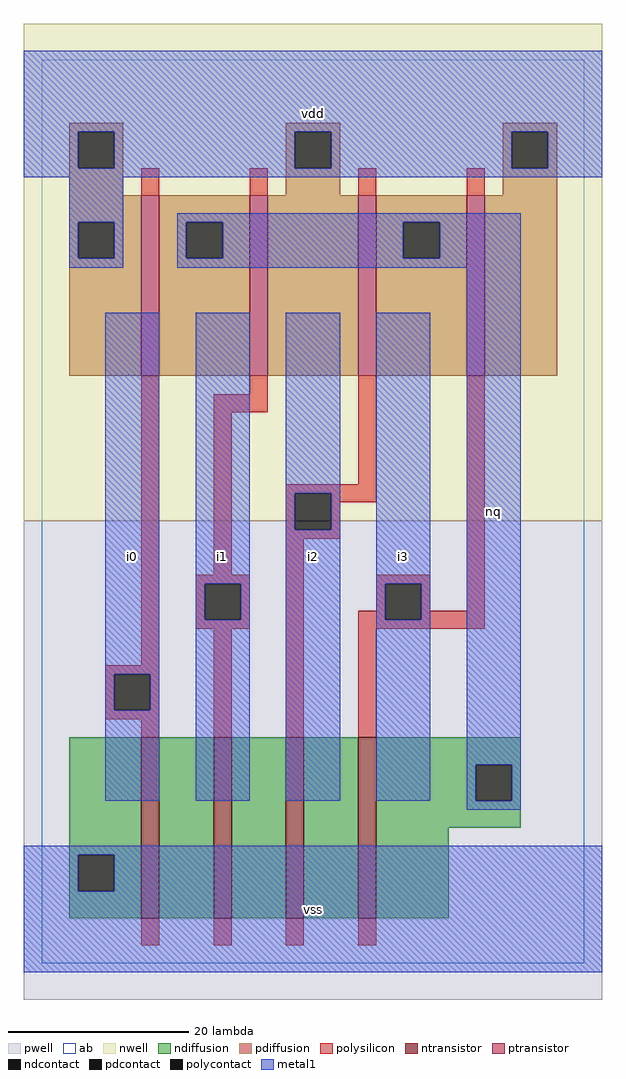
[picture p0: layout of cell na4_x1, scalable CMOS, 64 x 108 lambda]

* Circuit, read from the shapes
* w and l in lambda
.subckt na4_x1 i0 i1 i2 i3 nq vdd vss
M1 n1 i0 vss VSUBS nfet w=20 l=2
M2 n2 i1 n1 VSUBS nfet w=20 l=2
M3 n3 i2 n2 VSUBS nfet w=20 l=2
M4 nq i3 n3 VSUBS nfet w=20 l=2
M5 nq i0 vdd n4 pfet w=20 l=2
M6 vdd i1 nq n4 pfet w=20 l=2
M7 nq i2 vdd n4 pfet w=20 l=2
M8 vdd i3 nq n4 pfet w=20 l=2
.ends

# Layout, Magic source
magic
tech scmos
<< ab >>
rect 0 0 60 100
<< pwell >>
rect -2 -4 62 49
<< nwell >>
rect -2 49 62 104
<< polysilicon >>
rect 11 85 13 88
rect 23 85 25 88
rect 35 85 37 88
rect 47 85 49 88
rect 11 33 13 65
rect 23 63 25 65
rect 19 61 25 63
rect 19 43 21 61
rect 35 53 37 65
rect 27 52 37 53
rect 27 48 28 52
rect 32 51 37 52
rect 32 48 33 51
rect 27 47 33 48
rect 17 42 23 43
rect 17 38 18 42
rect 22 38 23 42
rect 17 37 23 38
rect 7 32 13 33
rect 7 28 8 32
rect 12 28 13 32
rect 7 27 13 28
rect 11 25 13 27
rect 19 25 21 37
rect 27 25 29 47
rect 37 42 43 43
rect 37 39 38 42
rect 35 38 38 39
rect 42 39 43 42
rect 47 39 49 65
rect 42 38 49 39
rect 35 37 49 38
rect 35 25 37 37
rect 11 2 13 5
rect 19 2 21 5
rect 27 2 29 5
rect 35 2 37 5
<< ndiffusion >>
rect 3 12 11 25
rect 3 8 4 12
rect 8 8 11 12
rect 3 5 11 8
rect 13 5 19 25
rect 21 5 27 25
rect 29 5 35 25
rect 37 22 53 25
rect 37 18 48 22
rect 52 18 53 22
rect 37 15 53 18
rect 37 5 45 15
<< pdiffusion >>
rect 3 92 9 93
rect 3 88 4 92
rect 8 88 9 92
rect 27 92 33 93
rect 27 88 28 92
rect 32 88 33 92
rect 51 92 57 93
rect 51 88 52 92
rect 56 88 57 92
rect 3 85 9 88
rect 27 85 33 88
rect 51 85 57 88
rect 3 82 11 85
rect 3 78 4 82
rect 8 78 11 82
rect 3 65 11 78
rect 13 82 23 85
rect 13 78 16 82
rect 20 78 23 82
rect 13 65 23 78
rect 25 65 35 85
rect 37 82 47 85
rect 37 78 40 82
rect 44 78 47 82
rect 37 65 47 78
rect 49 65 57 85
<< metal1 >>
rect -2 92 62 101
rect -2 88 4 92
rect 8 88 28 92
rect 32 88 52 92
rect 56 88 62 92
rect -2 87 62 88
rect 3 82 9 87
rect 3 78 4 82
rect 8 78 9 82
rect 3 77 9 78
rect 15 82 53 83
rect 15 78 16 82
rect 20 78 40 82
rect 44 78 53 82
rect 15 77 53 78
rect 7 32 13 72
rect 7 28 8 32
rect 12 28 13 32
rect 7 18 13 28
rect 17 42 23 72
rect 17 38 18 42
rect 22 38 23 42
rect 17 18 23 38
rect 27 52 33 72
rect 27 48 28 52
rect 32 48 33 52
rect 27 18 33 48
rect 37 42 43 72
rect 37 38 38 42
rect 42 38 43 42
rect 37 18 43 38
rect 47 22 53 77
rect 47 18 48 22
rect 52 18 53 22
rect 47 17 53 18
rect -2 12 62 13
rect -2 8 4 12
rect 8 8 62 12
rect -2 -1 62 8
<< ntransistor >>
rect 11 5 13 25
rect 19 5 21 25
rect 27 5 29 25
rect 35 5 37 25
<< ptransistor >>
rect 11 65 13 85
rect 23 65 25 85
rect 35 65 37 85
rect 47 65 49 85
<< polycontact >>
rect 28 48 32 52
rect 18 38 22 42
rect 8 28 12 32
rect 38 38 42 42
<< ndcontact >>
rect 4 8 8 12
rect 48 18 52 22
<< pdcontact >>
rect 4 88 8 92
rect 28 88 32 92
rect 52 88 56 92
rect 4 78 8 82
rect 16 78 20 82
rect 40 78 44 82
<< labels >>
rlabel metal1 10 45 10 45 6 i0
rlabel metal1 10 45 10 45 6 i0
rlabel metal1 20 45 20 45 6 i1
rlabel metal1 20 45 20 45 6 i1
rlabel metal1 30 6 30 6 6 vss
rlabel metal1 30 6 30 6 6 vss
rlabel metal1 30 45 30 45 6 i2
rlabel metal1 30 45 30 45 6 i2
rlabel metal1 40 45 40 45 6 i3
rlabel metal1 40 45 40 45 6 i3
rlabel metal1 30 94 30 94 6 vdd
rlabel metal1 30 94 30 94 6 vdd
rlabel metal1 50 50 50 50 6 nq
rlabel metal1 50 50 50 50 6 nq
<< end >>
